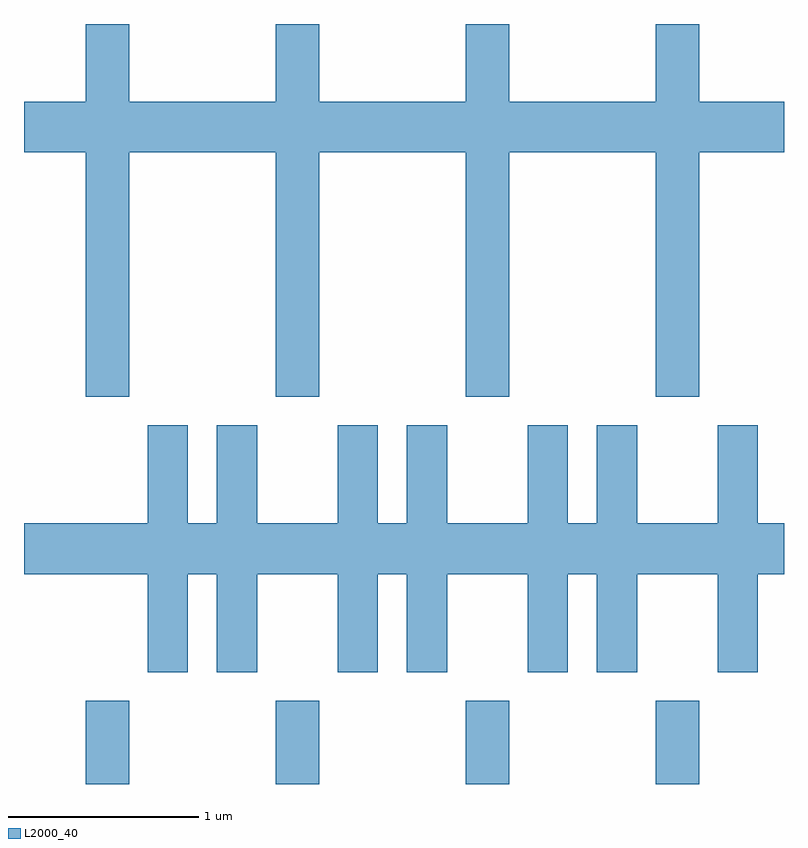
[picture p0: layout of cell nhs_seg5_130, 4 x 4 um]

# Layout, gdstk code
import gdstk
lib = gdstk.Library(unit=1e-6, precision=1e-09)
def R(c, l, rs):  # rectangles x0, y0, x1, y1
    for r in rs: c.add(gdstk.rectangle(r[:2], r[2:], *l))
def A(c, l, x, y, w, h, nx, ny, dx, dy):  # array of equal rectangles
    R(c, l, [(x+i*dx, y+j*dy, x+i*dx+w, y+j*dy+h) for i in range(nx) for j in range(ny)])
def P(c, l, *ps):  # polygons
    for p in ps: c.add(gdstk.Polygon(p, *l))
L2000_40 = (2000, 40)

nhs_seg5_130 = lib.new_cell('nhs_seg5_130')
A(nhs_seg5_130, L2000_40, 187.936, 1520.072, 0.228, 0.437, 4, 1, 1, 0)
P(nhs_seg5_130, L2000_40, [(188.164,1523.396),(188.936,1523.396),(188.936,1522.111),(189.164,1522.111),(189.164,1523.396),(189.936,1523.396),(189.936,1522.111),(190.164,1522.111),(190.164,1523.396),(190.936,1523.396),(190.936,1522.111),(191.164,1522.111),(191.164,1523.396),(191.611,1523.396),(191.611,1523.664),(191.164,1523.664),(191.164,1524.072),(190.936,1524.072),(190.936,1523.664),(190.164,1523.664),(190.164,1524.072),(189.936,1524.072),(189.936,1523.664),(189.164,1523.664),(189.164,1524.072),(188.936,1524.072),(188.936,1523.664),(188.164,1523.664),(188.164,1524.072),(187.936,1524.072),(187.936,1523.664),(187.611,1523.664),(187.611,1523.396),(187.936,1523.396),(187.936,1522.111),(188.164,1522.111)],
  [(188.474,1521.176),(188.626,1521.176),(188.626,1520.661),(188.839,1520.661),(188.839,1521.176),(189.261,1521.176),(189.261,1520.661),(189.474,1520.661),(189.474,1521.176),(189.626,1521.176),(189.626,1520.661),(189.839,1520.661),(189.839,1521.176),(190.261,1521.176),(190.261,1520.661),(190.474,1520.661),(190.474,1521.176),(190.626,1521.176),(190.626,1520.661),(190.839,1520.661),(190.839,1521.176),(191.261,1521.176),(191.261,1520.661),(191.474,1520.661),(191.474,1521.176),(191.611,1521.176),(191.611,1521.444),(191.474,1521.444),(191.474,1521.959),(191.261,1521.959),(191.261,1521.444),(190.839,1521.444),(190.839,1521.959),(190.626,1521.959),(190.626,1521.444),(190.474,1521.444),(190.474,1521.959),(190.261,1521.959),(190.261,1521.444),(189.839,1521.444),(189.839,1521.959),(189.626,1521.959),(189.626,1521.444),(189.474,1521.444),(189.474,1521.959),(189.261,1521.959),(189.261,1521.444),(188.839,1521.444),(188.839,1521.959),(188.626,1521.959),(188.626,1521.444),(188.474,1521.444),(188.474,1521.959),(188.261,1521.959),(188.261,1521.444),(187.611,1521.444),(187.611,1521.176),(188.261,1521.176),(188.261,1520.661),(188.474,1520.661)])

lib.write_gds('nhs_seg5_130.gds')
